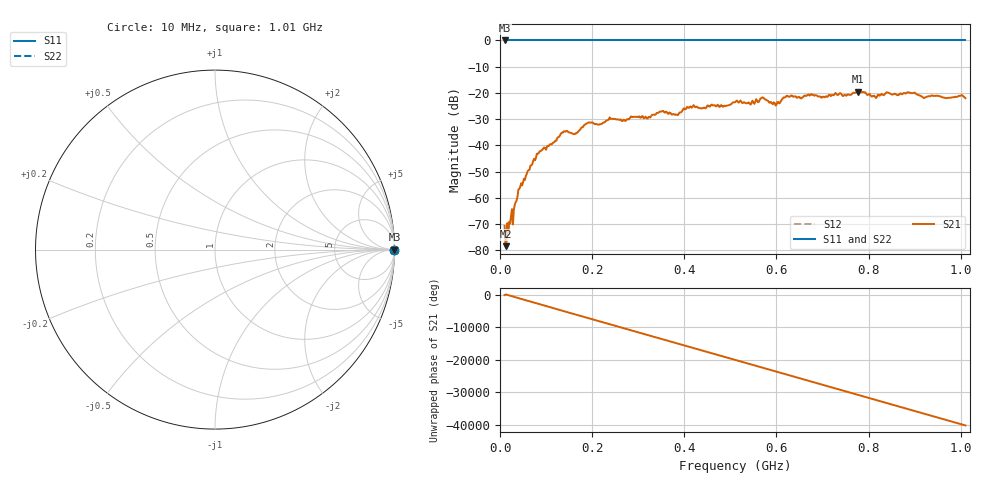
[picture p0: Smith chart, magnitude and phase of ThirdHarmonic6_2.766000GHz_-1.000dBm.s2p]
! 8/17/2025 7:00:39 AM
! C:\ANRITSUVNA\TEMP\TEMP.S2P
! CHANNEL.1
! TR.MEASUREMENT
! RAW.DATA
! RF.CORRECTION.OFF
! AVERAGING.OFF
! IF.BANDWIDTH: 5KHZ
! SWEEPTYPE:  FREQ.SWEEP(Linear)
! Reference Plane Port Info
! PORT:  PORT1  PORT2
! DISTANCE:  0  m  0  m
! TIME:  0  s  0  s
! PHASE.OFFSET:  0  deg.  0  deg.
! LOSS:  0  dB  0  dB
! REF.LOSS:  0  dB  0  dB
! REF.FREQ:  0  Hz  0  Hz
! Power Info
! POWER:  -20  dBm  -20  dBm
! EFF.POWER:  -20  dBm  -20  dBm
! SOURCE.ATTEN:  0  dB  0  dB
! TEST.ATTEN:  0  dB  0  dB
# GHZ S RI R 50.0
! FREQ.GHZ  S11RE  S11IM  S21RE  S21IM  S12RE  S12IM  S22RE  S22IM
!; PortSelection: Port_12
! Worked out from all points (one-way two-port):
!   501 points, 10 MHz to 1.01 GHz, reference 50 ohm
!   highest |S21| = -19.47 dB at 776 MHz (marker M1); lowest = -78.5 dB at 12 MHz (marker M2)
!   lowest |S11| = 0.0 dB at 10 MHz (marker M3)
!   |S11| at or under -10 dB: nowhere
!   |S22| runs from 0.0 to 0.0 dB; largest |S21 - S12| = 1.1
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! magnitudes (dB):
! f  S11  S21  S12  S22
! 10 MHz  0.0  -70.7  0.0  0.0
! 12 MHz  0.0  -78.5  0.0  0.0
! 16 MHz  0.0  -69.7  0.0  0.0
! 42 MHz  0.0  -56.6  0.0  0.0
! 84 MHz  0.0  -43.0  0.0  0.0
! 136 MHz  0.0  -35.2  0.0  0.0
! 162 MHz  0.0  -35.8  0.0  0.0
! 178 MHz  0.0  -33.1  0.0  0.0
! 194 MHz  0.0  -31.3  0.0  0.0
! 344 MHz  0.0  -27.6  0.0  0.0
! 382 MHz  0.0  -28.2  0.0  0.0
! 410 MHz  0.0  -25.7  0.0  0.0
! 510 MHz  0.0  -23.6  0.0  0.0
! 540 MHz  0.0  -23.6  0.0  0.0
! 570 MHz  0.0  -21.7  0.0  0.0
! 596 MHz  0.0  -23.8  0.0  0.0
! 620 MHz  0.0  -21.5  0.0  0.0
! 678 MHz  0.0  -20.7  0.0  0.0
! 776 MHz  0.0  -19.5  0.0  0.0
! 814 MHz  0.0  -21.5  0.0  0.0
! 844 MHz  0.0  -20.0  0.0  0.0
! 1.01 GHz  0.0  -22.0  0.0  0.0
